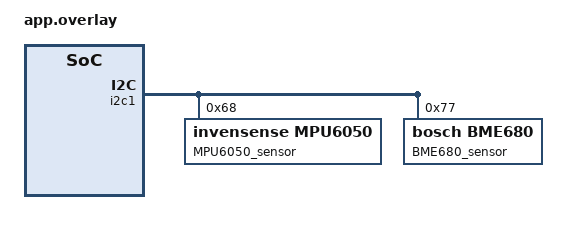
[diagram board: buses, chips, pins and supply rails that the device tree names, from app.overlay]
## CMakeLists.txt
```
cmake_minimum_required(VERSION 3.28.0)

find_package(Zephyr REQUIRED HINTS $ENV{ZEPHYR_BASE})
project(N6_BME680_MPU5060)


target_include_directories(app PRIVATE src/ui)
target_sources(app PRIVATE src/main.c
                            src/ui/images.c
                            src/ui/screens.c
                            src/ui/styles.c
                            src/ui/ui.c
                            )
```

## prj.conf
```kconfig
CONFIG_GPIO=y
CONFIG_I2C=y
CONFIG_I2C_SHELL=y
CONFIG_SENSOR=y
CONFIG_BME680=y
CONFIG_MPU6050_TRIGGER_NONE=y
CONFIG_CBPRINTF_FP_SUPPORT=y


CONFIG_LV_Z_MEM_POOL_SIZE=58368

CONFIG_MAIN_STACK_SIZE=8192


CONFIG_DISPLAY=y
CONFIG_DISPLAY_LOG_LEVEL_ERR=y

CONFIG_INPUT=y
CONFIG_PRINTK=y


CONFIG_LOG=y
CONFIG_SHELL=y

CONFIG_LV_Z_MEMORY_POOL_ZEPHYR_REGION=y
CONFIG_LV_Z_MEMORY_POOL_ZEPHYR_REGION_NAME="AXISRAM3"

CONFIG_LVGL=y
CONFIG_LV_USE_LOG=y

CONFIG_LV_USE_LABEL=y
CONFIG_LV_USE_ARC=y
CONFIG_LV_USE_CHART=y
CONFIG_LV_USE_MONKEY=y
CONFIG_LV_FONT_MONTSERRAT_14=y

CONFIG_SYS_HEAP_RUNTIME_STATS=y
```

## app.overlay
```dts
&i2c1 {
	mpu6050@68 {
		compatible = "invensense,mpu6050";
		reg = <0x68>;
		label = "MPU6050_sensor";
		status = "okay";
		smplrt-div = <249>;
	};

	bme680@77 {
		compatible = "bosch,bme680";
		reg = <0x77>;
		status = "okay";
		label = "BME680_sensor";
	};
};

&axisram3 {
    status = "okay";
};
```

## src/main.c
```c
#include <zephyr/device.h>
#include <zephyr/devicetree.h>
#include <zephyr/drivers/display.h>
#include <zephyr/linker/sections.h>
#include <zephyr/drivers/gpio.h>
#include <zephyr/drivers/sensor.h>
#include <lvgl.h>
#include <stdio.h>
#include <string.h>
#include <zephyr/kernel.h>
#include <zephyr/sys/printk.h>
#include <lvgl_input_device.h>

#include <ui.h>

#define LOG_LEVEL CONFIG_LOG_DEFAULT_LEVEL
#define STACKSIZE 1024
#define PRIORITY_PRODUCER 5


#include <zephyr/logging/log.h>
LOG_MODULE_REGISTER(app);

/* Semaphore for signaling between threads */
K_SEM_DEFINE(data_ready_sem, 0, 1);

static lv_chart_series_t *gx_series;
static lv_chart_series_t *gy_series;
static lv_chart_series_t *gz_series;

static lv_chart_series_t *ax_series;
static lv_chart_series_t *ay_series;
static lv_chart_series_t *az_series;



struct BME680_msg {
	float temperature;
	float humidity;
	float pressure;
	uint32_t timestamp;
};

struct MPU6050_msg {
	double GX;
	double GY;
	double GZ;
	double AY;
	double AX;
	double AZ;
	uint32_t timestamp;
};

K_MSGQ_DEFINE(sensor_msgq, sizeof(struct BME680_msg), 1, 4);
K_MSGQ_DEFINE(MPU5060_msg, sizeof(struct MPU6050_msg), 1, 4);


void BME680_task(void *p1, void *p2, void *p3)
{
	const struct device *const dev = DEVICE_DT_GET_ANY(bosch_bme680);
	if (!device_is_ready(dev)) {
		printf("BME680 device not ready\n");
		return;
	}

	struct BME680_msg  msg;
	struct sensor_value temp, press, humidity, gas_res;
	while (1) {
		if (sensor_sample_fetch(dev) < 0) {
			printf("Failed to fetch sample\n");
		} else {
			sensor_channel_get(dev, SENSOR_CHAN_AMBIENT_TEMP, &temp);
			sensor_channel_get(dev, SENSOR_CHAN_PRESS, &press);
			sensor_channel_get(dev, SENSOR_CHAN_HUMIDITY, &humidity);
			sensor_channel_get(dev, SENSOR_CHAN_GAS_RES, &gas_res);

			msg.timestamp = k_uptime_get_32();
			msg.humidity = humidity.val1;
			msg.temperature = temp.val1;
			msg.pressure = press.val1;

			/* Try to put message on the queue, don't block if full */
			int ret = k_msgq_put(&sensor_msgq, &msg, K_NO_WAIT);
			if (ret != 0) {
				printk("Producer: queue full, dropping message\n");
			} else {
				printk("Temp: %d.%06d C, Press: %d.%06d kPa, Humidity: %d.%06d %%, Gas: %d.%06d Ohms\n",
			   temp.val1, temp.val2,
			   press.val1, press.val2,
			   humidity.val1, humidity.val2,
			   gas_res.val1, gas_res.val2);
			}
		}
		k_sleep(K_MSEC(2000));
	}
}

void MPU6050_task(void *p1, void *p2, void *p3)
{
	// k_sleep(K_MSEC(150));
	const struct device *const mpu6050 = DEVICE_DT_GET_ONE(invensense_mpu6050);

	// k_sleep(K_MSEC(150));

	if (!device_is_ready(mpu6050)) {
		printf("Device %s is not ready\n", mpu6050->name);
		return;
	}

#ifdef CONFIG_MPU6050_TRIGGER
	trigger = (struct sensor_trigger) {
		.type = SENSOR_TRIG_DATA_READY,
		.chan = SENSOR_CHAN_ALL,
	};
	if (sensor_trigger_set(mpu6050, &trigger,
				   handle_mpu6050_drdy) < 0) {
		printf("Cannot configure trigger\n");
		return 0;
				   }
	printk("Configured for triggered sampling.\n");
#endif
	struct MPU6050_msg  msg = {};

	while (!IS_ENABLED(CONFIG_MPU6050_TRIGGER)) {
		struct sensor_value temperature;
		struct sensor_value accel[3];
		struct sensor_value gyro[3];
		int rc = sensor_sample_fetch(mpu6050);

		if (rc == 0) {
			rc = sensor_channel_get(mpu6050, SENSOR_CHAN_ACCEL_XYZ,
						accel);
		}
		if (rc == 0) {
			rc = sensor_channel_get(mpu6050, SENSOR_CHAN_GYRO_XYZ,
						gyro);
		}
		if (rc == 0) {
			rc = sensor_channel_get(mpu6050, SENSOR_CHAN_DIE_TEMP,
						&temperature);
		}

		if (rc == 0) {
			msg.AY = sensor_value_to_double(&accel[0]);
			msg.AX = sensor_value_to_double(&accel[1]);
			msg.AZ = sensor_value_to_double(&accel[2]);
			msg.GX = sensor_value_to_double(&gyro[0]);
			msg.GY = sensor_value_to_double(&gyro[1]);
			msg.GZ = sensor_value_to_double(&gyro[2]);
		} else {
			printf("sample fetch/get failed: %d\n", rc);
		}


		if (rc != 0) {
			break;
		}

		/* Try to put message on the queue, don't block if full */
		int ret = k_msgq_put(&MPU5060_msg, &msg, K_NO_WAIT);

		if (ret != 0) {
			printk("Producer: queue full, dropping message\n");
		} else {
			printk("data_sent");
		}

		k_sleep(K_MSEC(250));
	}
}

K_THREAD_DEFINE(task_a_id, STACKSIZE, BME680_task,
				NULL, NULL, NULL, PRIORITY_PRODUCER, 0, 0);

K_THREAD_DEFINE(task_b_id, 2048, MPU6050_task,
				NULL, NULL, NULL, PRIORITY_PRODUCER, 0, 0);


int main(void)
{
	const struct device *display_dev;
	char Preassure[50], Temp[50], Humidity[50];

	display_dev = DEVICE_DT_GET(DT_CHOSEN(zephyr_display));
	if (!device_is_ready(display_dev)) {
		printk("Display device not ready\n");
		return -1;
	}

	/* Initialize the EEZ Studio generated UI (creates screens, styles, vars) */
	ui_init();

	/* Force LVGL to render the first frame BEFORE turning the screen on */
	lv_timer_handler();
	k_msleep(50); // give it a moment to flush to the display driver

	/* Turn on the display now that LVGL has something to draw */
	display_blanking_off(display_dev);


	
	gx_series = lv_chart_add_series(objects.chart_gx, lv_palette_main(LV_PALETTE_RED), LV_CHART_AXIS_PRIMARY_Y);
	gy_series  = lv_chart_add_series(objects.chart_gy, lv_palette_main(LV_PALETTE_BLUE), LV_CHART_AXIS_PRIMARY_Y);
	gz_series = lv_chart_add_series(objects.chart_gz, lv_palette_main(LV_PALETTE_GREEN), LV_CHART_AXIS_PRIMARY_Y);

	ax_series = lv_chart_add_series(objects.chart_ax, lv_palette_main(LV_PALETTE_RED), LV_CHART_AXIS_PRIMARY_Y);
	ay_series  = lv_chart_add_series(objects.chart_ay, lv_palette_main(LV_PALETTE_BLUE), LV_CHART_AXIS_PRIMARY_Y);
	az_series = lv_chart_add_series(objects.chart_az, lv_palette_main(LV_PALETTE_GREEN), LV_CHART_AXIS_PRIMARY_Y);


	lv_chart_set_point_count(objects.chart_gx, 25); // e.g. 50 samples on screen
	lv_chart_set_point_count(objects.chart_gy, 25);
	lv_chart_set_point_count(objects.chart_gz, 25);

	
	lv_chart_set_point_count(objects.chart_ax, 25); // e.g. 50 samples on screen
	lv_chart_set_point_count(objects.chart_ay, 25);
	lv_chart_set_point_count(objects.chart_az, 25);

	lv_chart_set_range(objects.chart_gx, LV_CHART_AXIS_PRIMARY_Y, -1000, 1000);
	lv_chart_set_range(objects.chart_gx, LV_CHART_AXIS_PRIMARY_Y, -1000, 1000);
	lv_chart_set_range(objects.chart_gx, LV_CHART_AXIS_PRIMARY_Y, -1000, 1000);

	
	lv_chart_set_range(objects.chart_ax, LV_CHART_AXIS_PRIMARY_Y, -4, 4);
	lv_chart_set_range(objects.chart_ay, LV_CHART_AXIS_PRIMARY_Y, -4, 4);
	lv_chart_set_range(objects.chart_az, LV_CHART_AXIS_PRIMARY_Y, -4, 4);


	struct BME680_msg data;
	struct MPU6050_msg data2;
	

	while (1) {
		int ret = k_msgq_get(&sensor_msgq, &data, K_MSEC(50));
		if(ret == 0){

			snprintf(Preassure, sizeof(Preassure), "%f", data.pressure);
			snprintf(Temp, sizeof(Temp), "%f",data.temperature);
			snprintf(Humidity, sizeof(Humidity), "%f", data.humidity);
			
			lv_label_set_text(objects.humidity_label, Humidity);
			lv_label_set_text(objects.pressure_label, Preassure);
			lv_label_set_text(objects.temperature_label, Temp);


		
		
			lv_slider_set_value(objects.preasure_bar, (int32_t)data.pressure, LV_ANIM_ON);
			lv_slider_set_value(objects.humid_bar, (int32_t)data.humidity, LV_ANIM_ON);
			lv_scale_set_line_needle_value(objects.temp_gauge, objects.indicator_line, 42, (int32_t)data.temperature );
		
		}
		int ret2 = k_msgq_get(&MPU5060_msg, &data2, K_MSEC(50));
		if(ret2 == 0){
			lv_chart_set_next_value(objects.chart_gx, gx_series, (int32_t)data2.GX);
			lv_chart_set_next_value(objects.chart_gy, gy_series, (int32_t)data2.GY);
			lv_chart_set_next_value(objects.chart_gz, gz_series, (int32_t)data2.GZ);

			lv_chart_set_next_value(objects.chart_ax, ax_series, (int32_t)data2.AX);
			lv_chart_set_next_value(objects.chart_ay, ay_series, (int32_t)data2.AY);
			lv_chart_set_next_value(objects.chart_az, az_series, (int32_t)data2.AZ);




		}
		lv_timer_handler();

	}

	return 0;
}
```
